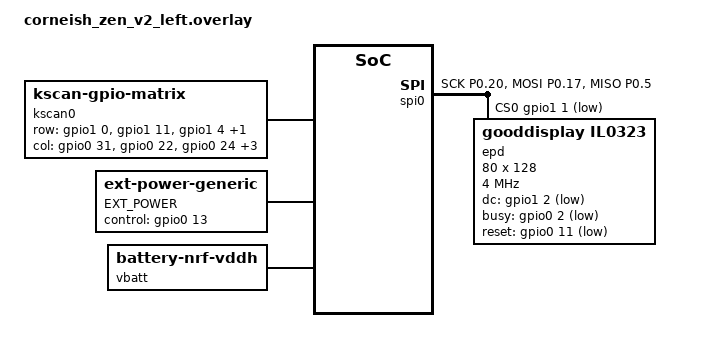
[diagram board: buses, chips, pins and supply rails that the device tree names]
/*
*
* Copyright (c) 2021 Darryl deHaan
* SPDX-License-Identifier: MIT
*
*/

#include "corneish_zen.dtsi"
#include <dt-bindings/led/led.h>



/{
    chosen {
        zephyr,display = &epd;
        zmk,battery = &vbatt;
    };

    kscan0: kscan {
        compatible = "zmk,kscan-gpio-matrix";
     wakeup-source;
        diode-direction = "col2row";
        row-gpios
            = <&gpio1 0 (GPIO_ACTIVE_HIGH | GPIO_PULL_DOWN)>    // row 0
            , <&gpio1 11 (GPIO_ACTIVE_HIGH | GPIO_PULL_DOWN)>   // row 1
            , <&gpio1 4 (GPIO_ACTIVE_HIGH | GPIO_PULL_DOWN)>    // row 2
            , <&gpio0 10 (GPIO_ACTIVE_HIGH | GPIO_PULL_DOWN)>   // row 3
            ;

        col-gpios
            = <&gpio0 31 GPIO_ACTIVE_HIGH>  // col 0
            , <&gpio0 22 GPIO_ACTIVE_HIGH>  // col 1
            , <&gpio0 24 GPIO_ACTIVE_HIGH>  // col 2
            , <&gpio0 29 GPIO_ACTIVE_HIGH>  // col 3
            , <&gpio1  13 GPIO_ACTIVE_HIGH>  // col 4
            , <&gpio1  15 GPIO_ACTIVE_HIGH>  // col 5
            ;
    };

    ext-power {
        compatible = "zmk,ext-power-generic";
        label = "EXT_POWER";
        control-gpios = <&gpio0 13 GPIO_ACTIVE_HIGH>;
         init-delay-ms = <50>;
    };

     vbatt: vbatt {
        compatible = "zmk,battery-nrf-vddh";
    };

};



&pinctrl {
    spi0_default: spi0_default {
        group1 {
            psels = <NRF_PSEL(SPIM_SCK, 0, 20)>,    // SCL - clock - D3
                <NRF_PSEL(SPIM_MOSI, 0, 17)>,
                <NRF_PSEL(SPIM_MISO, 0, 5)>;
        };
    };

    spi0_sleep: spi0_sleep {
        group1 {
            psels = <NRF_PSEL(SPIM_SCK, 0, 20)>,
                <NRF_PSEL(SPIM_MOSI, 0, 17)>,
                <NRF_PSEL(SPIM_MISO, 0, 5)>;
            low-power-enable;
        };
    };
    spi3_default: spi3_default {
        group1 {
            psels = <NRF_PSEL(SPIM_MOSI, 0, 6)>; // WS2812_VEXT_DATA
        };
    };

    spi3_sleep: spi3_sleep {
        group1 {
            psels = <NRF_PSEL(SPIM_MOSI, 0, 6)>;
            low-power-enable;
        };
    };
};

&spi0 {
    status = "okay";
    compatible = "nordic,nrf-spim";
    pinctrl-0 = <&spi0_default>;
    pinctrl-1 = <&spi0_sleep>;
    pinctrl-names = "default", "sleep";
    cs-gpios = <&gpio1 1 GPIO_ACTIVE_LOW>;  // 101

    epd: il0323@0 {
        compatible = "gooddisplay,il0323";
        reg =  <0>;
        width = <80>;
        height = <128>;
        spi-max-frequency = <4000000>;
        dc-gpios = <&gpio1 2 GPIO_ACTIVE_LOW>;
        busy-gpios = <&gpio0 2 GPIO_ACTIVE_LOW>;
        reset-gpios = <&gpio0 11 GPIO_ACTIVE_LOW>;
        pwr = [03 00 26 26];
        cdi = <0xd2>;   // SDA - D2 
        tcon = <0x22>;
    };
};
